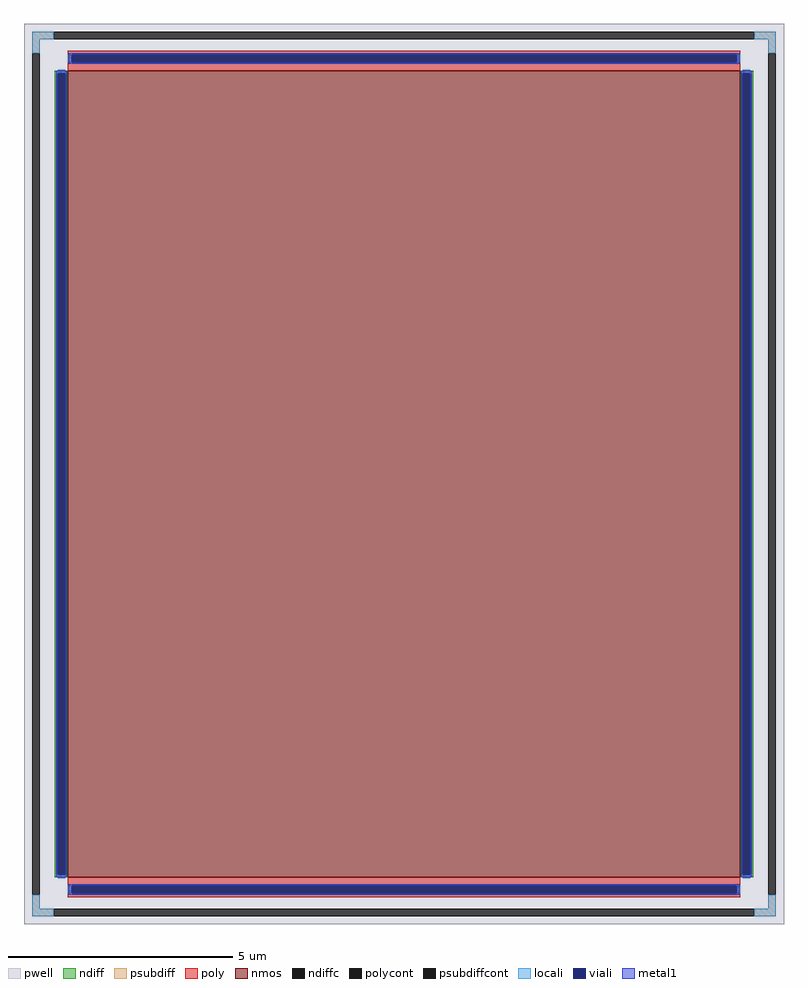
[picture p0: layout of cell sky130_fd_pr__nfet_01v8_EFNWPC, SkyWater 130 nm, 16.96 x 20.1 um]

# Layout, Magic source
magic
tech sky130A
<< pwell >>
rect -848 -1005 848 1005
<< nmos >>
rect -750 -900 750 900
<< ndiff >>
rect -779 894 -750 900
rect -779 -894 -773 894
rect -756 -894 -750 894
rect -779 -900 -750 -894
rect 750 894 779 900
rect 750 -894 756 894
rect 773 -894 779 894
rect 750 -900 779 -894
<< ndiffc >>
rect -773 -894 -756 894
rect 756 -894 773 894
<< psubdiff >>
rect -830 970 -782 987
rect 782 970 830 987
rect -830 939 -813 970
rect 813 939 830 970
rect -830 -970 -813 -939
rect 813 -970 830 -939
rect -830 -987 -782 -970
rect 782 -987 830 -970
<< psubdiffcont >>
rect -782 970 782 987
rect -830 -939 -813 939
rect 813 -939 830 939
rect -782 -987 782 -970
<< poly >>
rect -750 936 750 944
rect -750 919 -742 936
rect 742 919 750 936
rect -750 900 750 919
rect -750 -919 750 -900
rect -750 -936 -742 -919
rect 742 -936 750 -919
rect -750 -944 750 -936
<< polycont >>
rect -742 919 742 936
rect -742 -936 742 -919
<< locali >>
rect -830 970 -782 987
rect 782 970 830 987
rect -830 939 -813 970
rect 813 939 830 970
rect -750 919 -742 936
rect 742 919 750 936
rect -773 894 -756 902
rect -773 -902 -756 -894
rect 756 894 773 902
rect 756 -902 773 -894
rect -750 -936 -742 -919
rect 742 -936 750 -919
rect -830 -970 -813 -939
rect 813 -970 830 -939
rect -830 -987 -782 -970
rect 782 -987 830 -970
<< viali >>
rect -742 919 742 936
rect -773 -894 -756 894
rect 756 -894 773 894
rect -742 -936 742 -919
<< metal1 >>
rect -748 936 748 939
rect -748 919 -742 936
rect 742 919 748 936
rect -748 916 748 919
rect -776 894 -753 900
rect -776 -894 -773 894
rect -756 -894 -753 894
rect -776 -900 -753 -894
rect 753 894 776 900
rect 753 -894 756 894
rect 773 -894 776 894
rect 753 -900 776 -894
rect -748 -919 748 -916
rect -748 -936 -742 -919
rect 742 -936 748 -919
rect -748 -939 748 -936
<< properties >>
string FIXED_BBOX -821 -978 821 978
string gencell sky130_fd_pr__nfet_01v8
string library sky130
string parameters w 18 l 15 m 1 nf 1 diffcov 100 polycov 100 guard 1 glc 1 grc 1 gtc 1 gbc 1 tbcov 100 rlcov 100 topc 1 botc 1 poverlap 0 doverlap 1 lmin 0.15 wmin 0.42 compatible {sky130_fd_pr__nfet_01v8 sky130_fd_pr__nfet_01v8_lvt  sky130_fd_bs_flash__special_sonosfet_star  sky130_fd_pr__nfet_g5v0d10v5 sky130_fd_pr__nfet_05v0_nvt  sky130_fd_pr__nfet_03v3_nvt} full_metal 1 viasrc 100 viadrn 100 viagate 100 viagb 0 viagr 0 viagl 0 viagt 0
<< end >>
